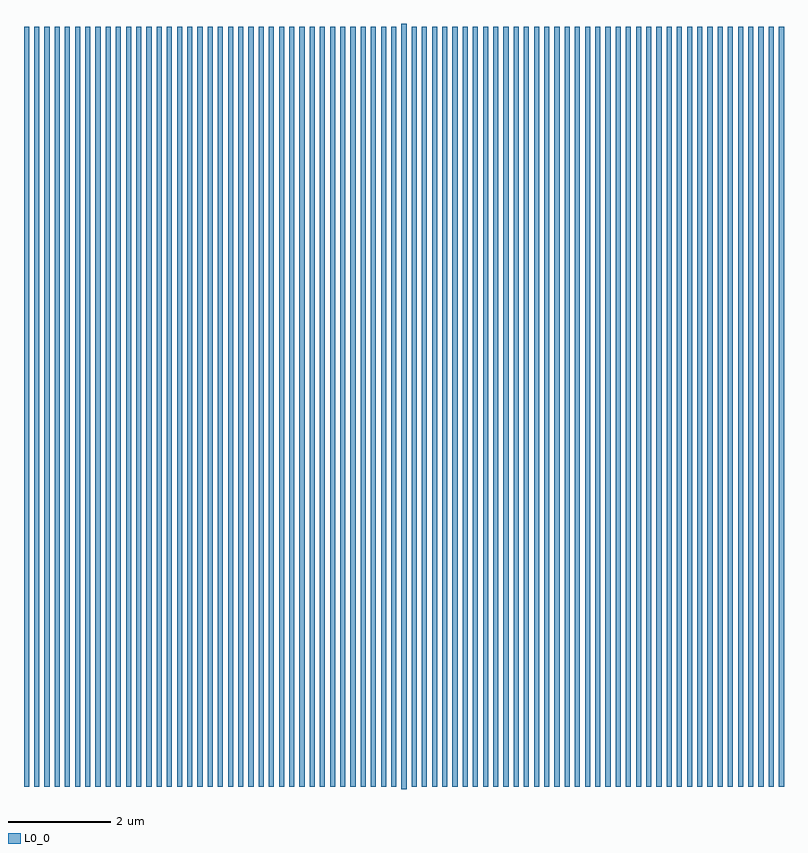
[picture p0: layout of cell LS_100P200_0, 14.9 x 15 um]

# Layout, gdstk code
import gdstk
lib = gdstk.Library(unit=1e-6, precision=1e-09)
def R(c, l, rs):  # rectangles x0, y0, x1, y1
    for r in rs: c.add(gdstk.rectangle(r[:2], r[2:], *l))
def A(c, l, x, y, w, h, nx, ny, dx, dy):  # array of equal rectangles
    R(c, l, [(x+i*dx, y+j*dy, x+i*dx+w, y+j*dy+h) for i in range(nx) for j in range(ny)])
L0_0 = (0, 0)

ls_100p200_0 = lib.new_cell('LS_100P200_0')
A(ls_100p200_0, L0_0, 5.05, 5.05, 0.1, 14.9, 37, 1, 0.2, 0)
A(ls_100p200_0, L0_0, 12.65, 5.05, 0.1, 14.9, 37, 1, 0.2, 0)
R(ls_100p200_0, L0_0, [(12.45,5,12.55,20)])

lib.write_gds('LS_100P200_0.gds')
